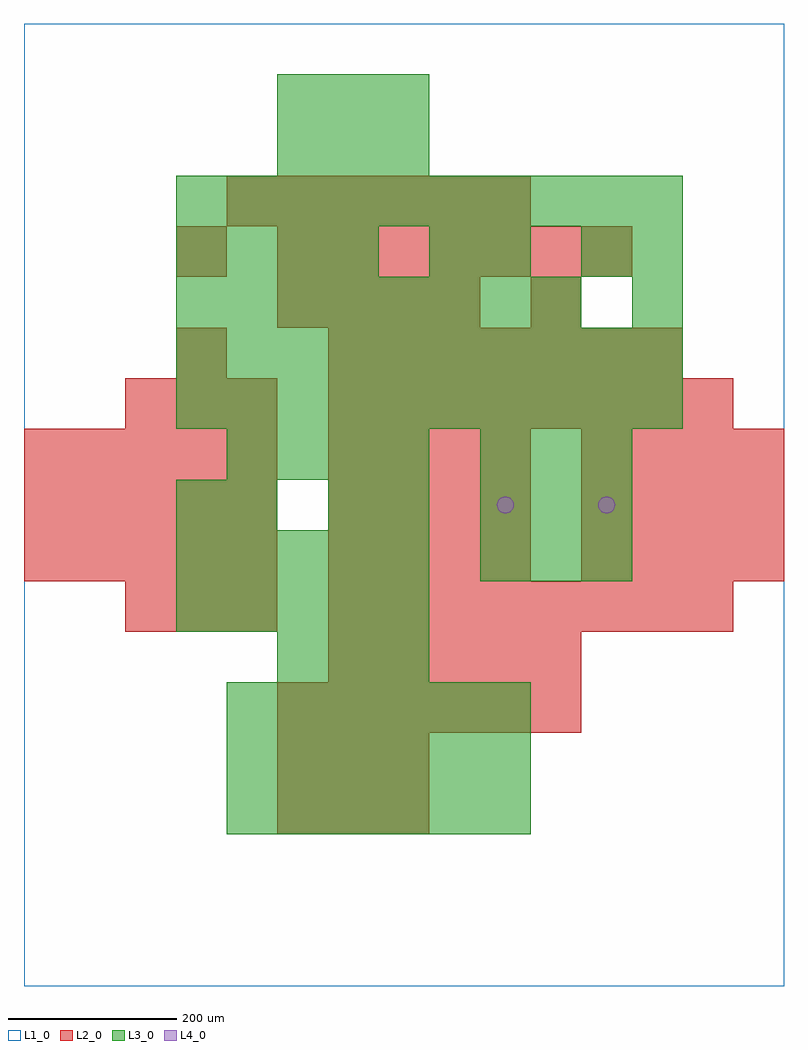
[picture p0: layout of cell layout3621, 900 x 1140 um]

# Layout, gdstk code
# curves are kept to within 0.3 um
import gdstk
lib = gdstk.Library(unit=1e-6, precision=1e-09)
def R(c, l, rs):  # rectangles x0, y0, x1, y1
    for r in rs: c.add(gdstk.rectangle(r[:2], r[2:], *l))
def A(c, l, x, y, w, h, nx, ny, dx, dy):  # array of equal rectangles
    R(c, l, [(x+i*dx, y+j*dy, x+i*dx+w, y+j*dy+h) for i in range(nx) for j in range(ny)])
def P(c, l, *ps):  # polygons
    for p in ps: c.add(gdstk.Polygon(p, *l))
L1_0 = (1, 0)
L2_0 = (2, 0)
L3_0 = (3, 0)
L4_0 = (4, 0)

layout3621 = lib.new_cell('layout3621')
R(layout3621, L1_0, [(0,0,900,1140)])
A(layout3621, L2_0, 300, 180, 60, 60, 3, 2, 60, 60)
A(layout3621, L2_0, 300, 300, 60, 60, 6, 1, 60, 0)
A(layout3621, L2_0, 360, 360, 60, 60, 5, 1, 60, 0)
A(layout3621, L2_0, 120, 420, 60, 60, 3, 2, 60, 240)
A(layout3621, L2_0, 360, 420, 60, 60, 8, 2, 60, 240)
A(layout3621, L2_0, 0, 480, 60, 60, 5, 3, 60, 60)
A(layout3621, L2_0, 360, 480, 60, 60, 4, 3, 60, 60)
A(layout3621, L2_0, 660, 480, 60, 60, 4, 3, 60, 60)
A(layout3621, L2_0, 360, 720, 60, 60, 7, 1, 60, 0)
A(layout3621, L2_0, 300, 780, 60, 60, 4, 1, 60, 0)
A(layout3621, L2_0, 300, 840, 60, 60, 7, 1, 60, 0)
A(layout3621, L2_0, 240, 900, 60, 60, 6, 1, 60, 0)
R(layout3621, L2_0, [(180,720,240,780), (600,780,660,840), (180,840,240,900)])
A(layout3621, L3_0, 240, 180, 60, 60, 6, 3, 60, 60)
A(layout3621, L3_0, 300, 360, 60, 60, 3, 2, 60, 600)
A(layout3621, L3_0, 180, 420, 60, 60, 5, 2, 60, 60)
A(layout3621, L3_0, 540, 480, 60, 60, 3, 3, 60, 60)
A(layout3621, L3_0, 240, 600, 60, 60, 4, 1, 60, 0)
A(layout3621, L3_0, 180, 660, 60, 60, 10, 2, 60, 60)
A(layout3621, L3_0, 180, 780, 60, 60, 8, 1, 60, 0)
A(layout3621, L3_0, 180, 840, 60, 60, 4, 1, 60, 0)
A(layout3621, L3_0, 180, 900, 60, 60, 10, 1, 60, 0)
A(layout3621, L3_0, 300, 1020, 60, 60, 3, 1, 60, 0)
R(layout3621, L3_0, [(180,540,240,600), (240,540,300,600), (360,540,420,600), (420,540,480,600), (720,780,780,840), (480,840,540,900), (540,840,600,900), (660,840,720,900), (720,840,780,900)])
P(layout3621, L4_0, [(580,570),(579.239,573.827),(577.071,577.071),(573.827,579.239),(570,580),(566.173,579.239),(562.929,577.071),(560.761,573.827),(560,570),(560.761,566.173),(562.929,562.929),(566.173,560.761),(570,560),(573.827,560.761),(577.071,562.929),(579.239,566.173)],
  [(700,570),(699.239,573.827),(697.071,577.071),(693.827,579.239),(690,580),(686.173,579.239),(682.929,577.071),(680.761,573.827),(680,570),(680.761,566.173),(682.929,562.929),(686.173,560.761),(690,560),(693.827,560.761),(697.071,562.929),(699.239,566.173)])

lib.write_gds('layout3621.gds')
